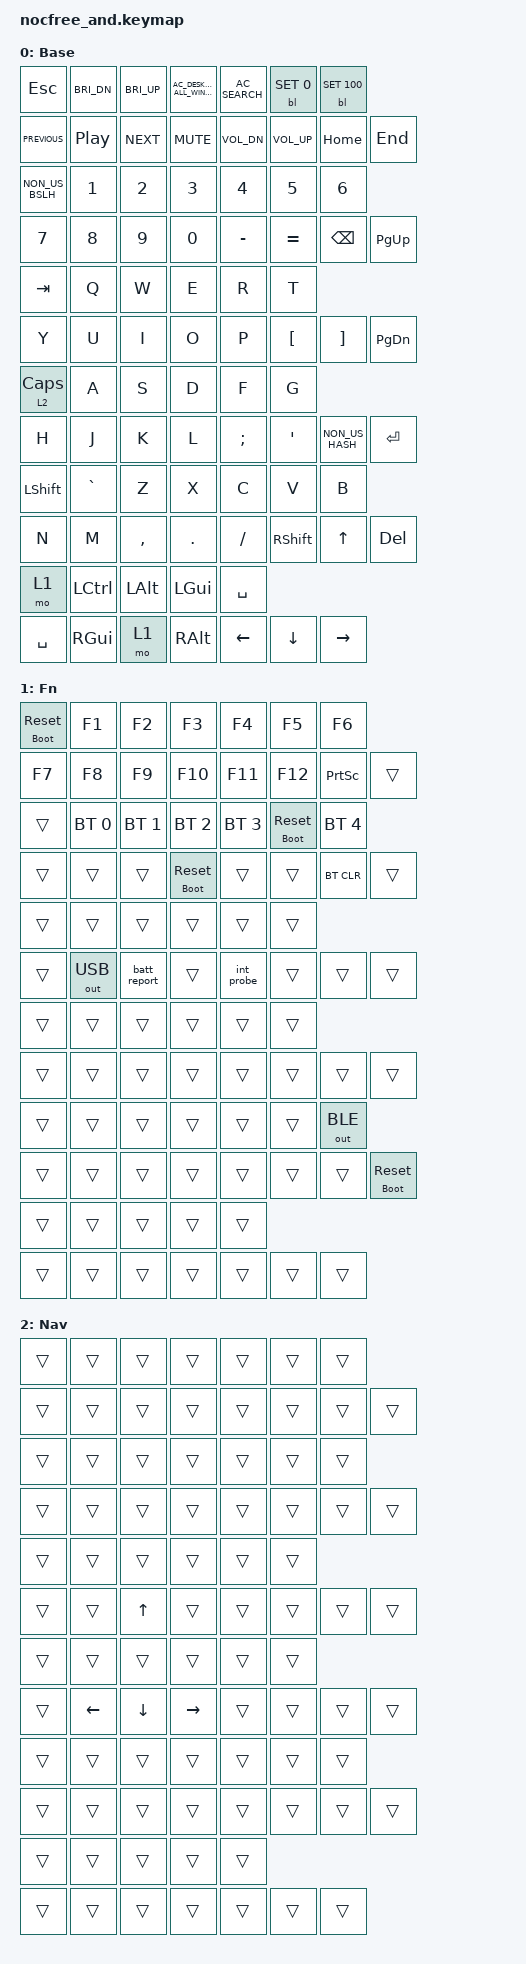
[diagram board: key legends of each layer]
/*
 * Copyright (c) 2026 The NocFree ZMK Contributors
 *
 * SPDX-License-Identifier: MIT
 */

#include <behaviors.dtsi>
#include <dt-bindings/zmk/backlight.h>
#include <dt-bindings/zmk/bt.h>
#include <dt-bindings/zmk/keys.h>
#include <dt-bindings/zmk/outputs.h>

/*
 * ISO map, the factory arrangement throughout, plus a Caps-Lock navigation
 * layer. For macOS with a Nordic layout.
 *
 * This is a user-config keymap: it replaces the board keymap at
 * boards/nocfree/nocfree_and/nocfree_and.keymap wholesale, so the behaviour
 * nodes that file declares are redeclared here.
 *
 * Positional, not national. HID usage codes say which key moved; the host
 * layout decides the character. This is the standard positional map plus the
 * two codes ANSI has no room for, so it serves Nordic, German, French,
 * Spanish and every other ISO layout equally. Set the layout in the OS.
 *
 *   NON_US_BSLH  the key between LSHFT and Z      Nordic: < > backslash
 *   NON_US_HASH  the key left of the ISO Enter    Nordic: apostrophe, star
 *
 * Except that on macOS those first two are crossed, and this keymap crosses
 * them back. macOS maps HID 0x35 (GRAVE) and 0x64 (NON_US_BSLH) the opposite
 * way round from Windows, Linux and every other host, on any ISO keyboard
 * that is not an Apple one. Bound positionally, the result is that the key
 * left of Z types what the key left of 1 should, and vice versa.
 *
 * MEASURED on this unit, macOS 27, Danish layout, keyboard type set to ISO:
 *
 *   key left of 1, sending GRAVE          typed  <  >     wanted  $  §
 *   key left of Z, sending NON_US_BSLH    typed  $  §     wanted  <  >
 *
 * So the two are swapped here: the key left of 1 sends NON_US_BSLH and the
 * key left of Z sends GRAVE. Each key then produces its own legend. This is
 * the one place the firmware compensates for a host rather than describing
 * the hardware, and it is why this file is not portable back to Windows --
 * doing that needs these two put back as well as the bottom row.
 *
 * Bindings are listed in visual reading order. Each line pair is one physical
 * row: the left half first, then the right half. Row widths are
 * 7+8, 7+8, 6+8, 6+8, 7+8, 5+7 = 85.
 *
 * Layers: 0 base, 1 Fn, 2 Nav (held with Caps Lock).
 *
 * The top row is inverted relative to the arrangement NocFree publishes, at
 * the owner's request, to match how Apple's own keyboards behave: the
 * Mac-legend shortcuts -- brightness, Mission Control, Spotlight, media -- are
 * what the keys do unmodified, and F1-F12 are behind Fn.
 *
 * The legends printed on these caps are the shortcuts, so the base layer now
 * does what the caps say and the F-numbers are the hidden meaning. NocFree
 * ships it the other way round.
 *
 * This needs a matching host setting, and does nothing useful without it.
 * With "Use F1, F2, etc. keys as standard function keys" OFF -- the macOS
 * default -- macOS reinterprets F1-F12 as media keys itself, so Fn+F1 would
 * arrive as brightness-down and a real F1 would be unreachable. Turn it ON:
 * System Settings -> Keyboard -> Keyboard Shortcuts -> Function Keys. The
 * base layer is unaffected by that setting either way, because it sends
 * consumer usages rather than F-numbers.
 *
 * Esc stays Esc, Home/End stay put, and Fn+Esc is still the bootloader.
 * The bottom row is the factory order; see below.
 *
 * Two bindings sit in slots the factory arrangement leaves empty, because
 * this firmware drives hardware the factory map does not address:
 *
 *   Fn+F5 / Fn+F6   backlight off / on. Absolute BL_SET levels only. ZMK
 *                   relays the backlight behaviour to the peripheral but
 *                   never syncs the resulting state, and each half keeps its
 *                   own brightness in its own NVS, so one BL_INC lost to a
 *                   split-link hiccup would leave a permanent offset that
 *                   survives reboots. BL_SET lands both halves on one number.
 *   Fn+i            types the battery level as "bat NN". That number is a
 *                   stub and reads 100 permanently; see docs/battery.md.
 *
 * The top row's last three keys read Home, End, Delete, matching the legends
 * on this unit. Upstream's manufacturer-documented table put Print Screen and
 * Home there, but that table was derived from the ANSI board and does not
 * describe this one -- the owner read the keys off the physical keyboard.
 * Print Screen keeps a home on Fn+Home.
 *
 * The bottom row is the factory order, matching the Mac legends on the retail
 * keycaps:
 *
 *   left    Fn / Control / Option / Command, outside in
 *   right   Command / Fn / Option, reading outward from the space bar
 *
 * Command lands under either thumb, which is where macOS wants it -- every
 * system shortcut is a Command chord. Option needs no special placement,
 * because a Nordic layout on macOS takes its third-level characters --
 * @ $ { [ ] } and the backslash and pipe -- from Option, and an Option key
 * sits one out from each thumb already.
 *
 * The Windows sibling of this config rearranges this row: LGUI and LALT
 * into PC order, and AltGr in beside the space bar, because under Windows
 * those same characters come from AltGr and the factory row puts it three
 * keys out, behind Command and Fn. Neither departure buys anything on macOS,
 * so this keymap leaves the row as the factory drew it. To rebuild the
 * Windows row: swap LALT with LGUI on the left, RGUI with RALT on the right.
 * That unit also runs Control outermost, because its Control and Fn keycaps
 * were physically swapped and the firmware follows the caps; this one has
 * factory caps, so Fn stays on the edge.
 *
 * Recovery keys. Both halves can be dropped into their preserved UF2
 * bootloader from the keymap, and both the factory combinations and the
 * port's own are bound, so either muscle memory works:
 *
 *   Fn+5  or  Fn+Esc      left half     (factory firmware uses Fn+5)
 *   Fn+0  or  Fn+Delete   right half    (factory firmware uses Fn+0)
 *
 * This works because ZMK reset behaviours act on the half whose key triggered
 * them, and 5 and Esc are both left-half keys while 0 and Delete are both
 * right-half ones -- the same split the factory combinations rely on. Tap
 * resets that half; hold 1.5 s reaches the bootloader. Binding Fn+5 and Fn+0
 * displaced two Bluetooth controls, which moved one key outward:
 * profile 4 is now Fn+6, and clear-profile is now Fn+Backspace.
 */

/ {
    behaviors {
        /*
         * Types the battery percentage out as "bat NN". A macro cannot do
         * this: macros send a sequence fixed at compile time and the
         * percentage is a runtime value. Output is digits, letters and space
         * only, which sit in the same places on every ISO layout.
         */
        /* DIAGNOSTIC: reports the expander INT line. Fn+P. */
        int_probe: int_probe {
            compatible = "nocfree,behavior-int-probe";
            #binding-cells = <0>;
            display-name = "INT probe";
        };

        batt_report: battery_report {
            compatible = "nocfree,behavior-battery-report";
            #binding-cells = <0>;
            display-name = "Battery";
        };

        /*
         * A hold-tap always passes two parameters to its bound behaviours.
         * &bootloader and &sys_reset take none, so every use passes two
         * zeroes.
         *
         * tap-preferred: a quick tap is a reset even if the key is still held
         * when the next one arrives. Only a deliberate 1.5 s hold reaches the
         * bootloader.
         */
        boot_reset: bootloader_or_reset {
            compatible = "zmk,behavior-hold-tap";
            #binding-cells = <2>;
            bindings = <&bootloader>, <&sys_reset>;
            tapping-term-ms = <1500>;
            flavor = "tap-preferred";
        };

        /*
         * Caps Lock, held, is the navigation layer; tapped, it is still Caps
         * Lock.
         *
         * hold-preferred rather than ZMK's stock &lt, which is tap-preferred:
         * tap-preferred resolves only on the timer, so every arrow would cost
         * a 200 ms wait before it registered. hold-preferred resolves as soon
         * as another key goes down, so Caps+J is an immediate Left. The
         * trade-off is that pressing another key while Caps is still held
         * always means the layer -- which is what you want here, because Caps
         * Lock is a key you tap on its own and essentially never chord.
         */
        caps_nav: caps_lock_or_nav {
            compatible = "zmk,behavior-hold-tap";
            #binding-cells = <2>;
            bindings = <&mo>, <&kp>;
            tapping-term-ms = <200>;
            flavor = "hold-preferred";
            display-name = "Caps/Nav";
        };
    };

    keymap {
        compatible = "zmk,keymap";

        default_layer {
            display-name = "Base";
            bindings = <
                &kp ESC   &kp C_BRI_DN &kp C_BRI_UP &kp C_AC_DESKTOP_SHOW_ALL_WINDOWS &kp C_AC_SEARCH &bl BL_SET 0 &bl BL_SET 100
                &kp C_PREVIOUS &kp C_PLAY_PAUSE &kp C_NEXT &kp C_MUTE &kp C_VOL_DN &kp C_VOL_UP &kp HOME &kp END

                &kp NON_US_BSLH &kp N1 &kp N2 &kp N3 &kp N4   &kp N5    &kp N6
                &kp N7    &kp N8    &kp N9    &kp N0    &kp MINUS &kp EQUAL &kp BSPC  &kp PG_UP

                &kp TAB   &kp Q     &kp W     &kp E     &kp R     &kp T
                &kp Y     &kp U     &kp I     &kp O     &kp P     &kp LBKT  &kp RBKT  &kp PG_DN

                &caps_nav 2 CAPS    &kp A     &kp S     &kp D     &kp F     &kp G
                &kp H     &kp J     &kp K     &kp L     &kp SEMI  &kp SQT   &kp NON_US_HASH &kp RET

                &kp LSHFT &kp GRAVE &kp Z     &kp X     &kp C     &kp V     &kp B
                &kp N     &kp M     &kp COMMA &kp DOT   &kp FSLH  &kp RSHFT &kp UP    &kp DEL

                &mo 1     &kp LCTRL &kp LALT  &kp LGUI  &kp SPACE
                &kp SPACE &kp RGUI  &mo 1     &kp RALT  &kp LEFT  &kp DOWN  &kp RIGHT
            >;
        };

        /*
         * Function layer. The function row follows the contract NocFree
         * publishes for the Mac legends on the retail keycaps.
         *
         *   Fn+Esc        tap: reset the left half   hold 1.5 s: its bootloader
         *   Fn+5          the same, matching factory firmware's combination
         *   Fn+F1 / F2    display brightness down / up
         *   Fn+F3         Mission Control         Fn+F4  Spotlight
         *   Fn+F5 / F6    backlight off / on      (this firmware, not factory)
         *   Fn+F7..F12    prev, play/pause, next, mute, volume down, volume up
         *   Fn+Home       Print Screen
         *   Fn+1..Fn+4    select Bluetooth profile 0..3
         *   Fn+6          select Bluetooth profile 4
         *   Fn+Backspace  clear the selected Bluetooth profile
         *   Fn+U          send HID over USB       Fn+B  send HID over Bluetooth
         *   Fn+i          type the battery level as "bat NN"
         *   Fn+Delete     tap: reset the right half  hold 1.5 s: its bootloader
         *   Fn+0          the same, matching factory firmware's combination
         *
         * Fn+Delete and Fn+0 need the split link up to reach the right half,
         * and that half needs its own USB cable for its bootloader drive to
         * appear. Either half can always be recovered over its USB CDC
         * interface instead; see docs/recovery.md.
         */
        function_layer {
            display-name = "Fn";
            bindings = <
                &boot_reset 0 0 &kp F1 &kp F2 &kp F3  &kp F4    &kp F5    &kp F6
                &kp F7    &kp F8    &kp F9    &kp F10   &kp F11   &kp F12   &kp PSCRN &trans

                &trans     &bt BT_SEL 0 &bt BT_SEL 1 &bt BT_SEL 2 &bt BT_SEL 3 &boot_reset 0 0 &bt BT_SEL 4
                &trans     &trans     &trans  &boot_reset 0 0 &trans     &trans     &bt BT_CLR &trans

                &trans     &trans     &trans     &trans     &trans     &trans
                &trans     &out OUT_USB &batt_report &trans   &int_probe &trans     &trans     &trans

                &trans     &trans     &trans     &trans     &trans     &trans
                &trans     &trans     &trans     &trans     &trans     &trans     &trans     &trans

                &trans     &trans     &trans     &trans     &trans     &trans     &out OUT_BLE
                &trans     &trans     &trans     &trans     &trans     &trans     &trans  &boot_reset 0 0

                &trans     &trans     &trans     &trans     &trans
                &trans     &trans     &trans     &trans     &trans     &trans     &trans
            >;
        };

        /*
         * Navigation layer, held with Caps Lock.
         *
         *   Caps+I     up          Caps+J  left
         *   Caps+K     down        Caps+L  right
         *
         * I sits directly above K, with J and L either side, so the four form
         * the usual inverted T under the right hand.
         *
         * Everything else is transparent and falls through to the base layer,
         * so Caps+anything-else types what it normally would. The physical
         * arrow cluster is untouched and still works.
         */
        nav_layer {
            display-name = "Nav";
            bindings = <
                &trans     &trans     &trans     &trans     &trans     &trans     &trans
                &trans     &trans     &trans     &trans     &trans     &trans     &trans     &trans

                &trans     &trans     &trans     &trans     &trans     &trans     &trans
                &trans     &trans     &trans     &trans     &trans     &trans     &trans     &trans

                &trans     &trans     &trans     &trans     &trans     &trans
                &trans     &trans     &kp UP     &trans     &trans     &trans     &trans     &trans

                &trans     &trans     &trans     &trans     &trans     &trans
                &trans     &kp LEFT   &kp DOWN   &kp RIGHT  &trans     &trans     &trans     &trans

                &trans     &trans     &trans     &trans     &trans     &trans     &trans
                &trans     &trans     &trans     &trans     &trans     &trans     &trans     &trans

                &trans     &trans     &trans     &trans     &trans
                &trans     &trans     &trans     &trans     &trans     &trans     &trans
            >;
        };
    };
};

/*
 * DIAGNOSTIC. Reading the expanders' input registers is what clears the
 * PCA9555 INT, so under the stock 10 ms scan period the line is only asserted
 * for at most 10 ms per key event. Widening it to a second makes the assertion
 * impossible to miss -- and leaves INT still low when the report is typed.
 *
 * The keyboard is deliberately laggy while this is flashed.
 */
&kscan0 {
    poll-period-ms = <1000>;
};
